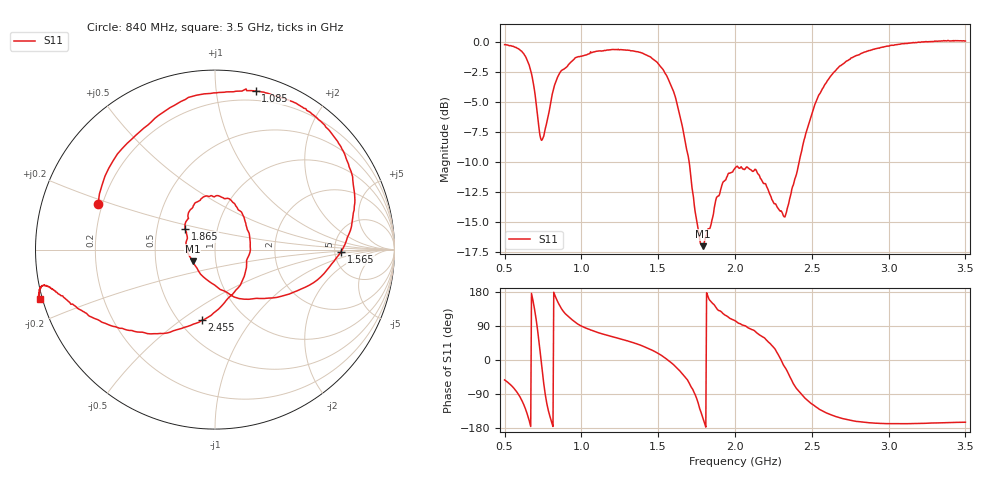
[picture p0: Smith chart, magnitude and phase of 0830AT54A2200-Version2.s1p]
!Agilent Technologies,E5071B,MY42100491,A.09.10
!Date: Wed Jan 31 19:15:19 2018
!Data & Calibration Information:
!Freq	S11:SOLT1(ON)
# Hz S dB R 50
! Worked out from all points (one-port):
!   601 points, 500 MHz to 3.5 GHz, reference 50 ohm
!   lowest |S11| = -17.0 dB at 1.79 GHz (marker M1), VSWR 1.33, Z = 38.6 - j5.08 ohm
!   |S11| at or under -10 dB: 1.701 GHz to 2.418 GHz (716.4 MHz wide, 34.8 % of centre)
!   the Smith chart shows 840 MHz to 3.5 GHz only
!   S11 on the Smith chart (normalised r, x): 840 MHz: 0.18, +0.18; 1.085 GHz: 0.12, +1.28; 1.565 GHz: 5.70, -0.28; 1.865 GHz: 0.70, +0.17; 2.455 GHz: 0.64, -0.60; 3.5 GHz: -0.01, -0.14
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5e8  -0.21 -52.6
6.05e8  -0.72 -101.1
6.6e8  -1.92 -159.6
6.8e8  -2.93 166.4
7e8  -4.54 121.0
7.15e8  -6.18 78.1
7.35e8  -8.05 8.2
7.55e8  -7.84 -62.9
7.75e8  -6.68 -115.2
8.1e8  -4.36 -169.4
8.4e8  -3.11 158.7
8.75e8  -2.33 132.4
9.6e8  -1.30 99.9
1.085e9  -0.81 75.5
1.25e9  -0.64 56.1
1.415e9  -1.03 34.3
1.565e9  -3.07 -1.0
1.625e9  -5.27 -22.6
1.7e9  -9.89 -59.5
1.79e9  -17.04 -152.7
1.865e9  -13.84 145.3
2e9  -10.55 103.7
2.2e9  -11.84 54.6
2.375e9  -12.06 -59.1
2.455e9  -7.96 -100.4
2.75e9  -1.42 -159.1
3.125e9  -0.11 -168.0
3.5e9  0.09 -164.2
